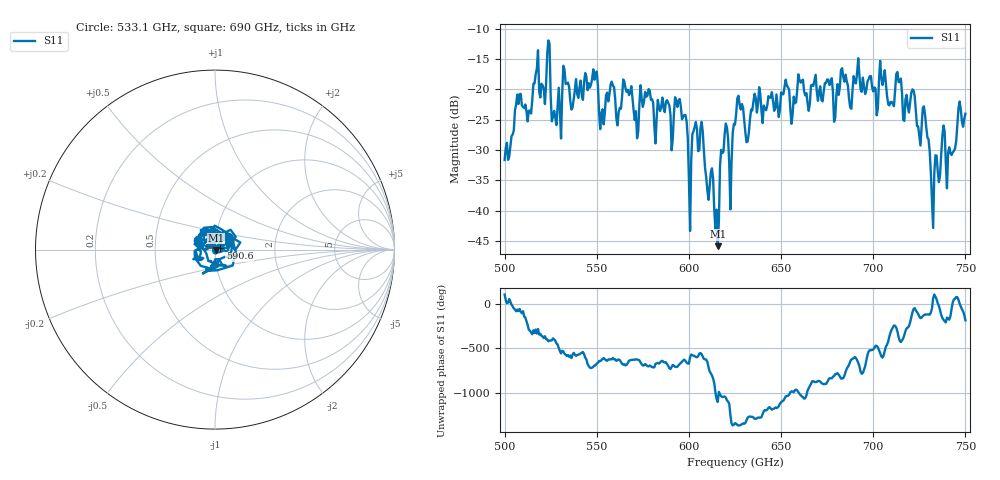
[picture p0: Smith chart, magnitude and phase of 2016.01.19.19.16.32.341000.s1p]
!Created with skrf (http://scikit-rf.org).
# GHz S RI R 50.0
!freq ReS11 ImS11
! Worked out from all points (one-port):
!   401 points, 500 GHz to 750 GHz, reference 50 ohm
!   lowest |S11| = -45.8 dB at 615.6 GHz (marker M1), VSWR 1.01, Z = 50.5 - j0.153 ohm
!   |S11| at or under -10 dB: start of sweep to end of sweep
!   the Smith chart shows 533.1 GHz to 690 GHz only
!   S11 on the Smith chart (normalised r, x): 533.1 GHz: 0.82, +0.09; 590.6 GHz: 1.06, +0.02; 690 GHz: 0.86, +0.17
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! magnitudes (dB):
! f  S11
! 500 GHz  -31.6
! 516.9 GHz  -17.5
! 520.6 GHz  -19.3
! 523.8 GHz  -11.9
! 526.9 GHz  -23.5
! 531.2 GHz  -20.6
! 533.1 GHz  -19.1
! 562.5 GHz  -23.0
! 565.6 GHz  -19.9
! 571.2 GHz  -23.6
! 577.5 GHz  -21.0
! 590.6 GHz  -30.0
! 593.8 GHz  -22.9
! 598.1 GHz  -24.2
! 600 GHz  -34.9
! 606.9 GHz  -25.3
! 615.6 GHz  -45.8
! 618.8 GHz  -30.3
! 622.5 GHz  -39.8
! 625 GHz  -25.8
! 656.2 GHz  -24.2
! 660.6 GHz  -18.9
! 687.5 GHz  -23.0
! 690 GHz  -18.8
! 718.8 GHz  -22.9
! 728.1 GHz  -24.2
! 732.5 GHz  -42.8
! 750 GHz  -24.0
